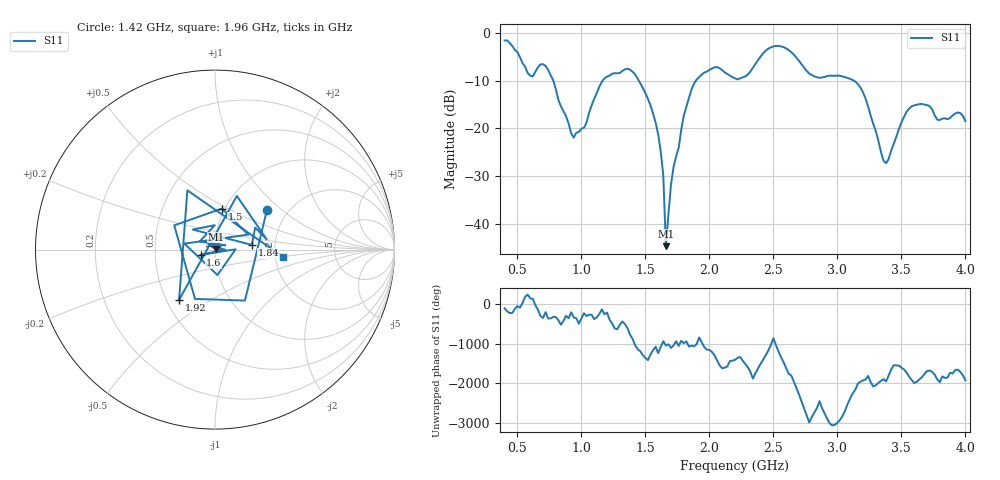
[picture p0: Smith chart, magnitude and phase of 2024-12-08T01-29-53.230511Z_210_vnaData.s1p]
!Created with skrf (http://scikit-rf.org).
# Hz S RI R 50.0
!freq ReS11 ImS11
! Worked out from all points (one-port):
!   181 points, 400 MHz to 4 GHz, reference 50 ohm
!   lowest |S11| = -44.7 dB at 1.66 GHz (marker M1), VSWR 1.01, Z = 50.5 + j0.307 ohm
!   |S11| at or under -10 dB: 780.3 MHz to 1.167 GHz (386.5 MHz wide, 39.7 % of centre); 1.448 GHz to 1.896 GHz (447.8 MHz wide, 26.8 % of centre); 3.126 GHz to end of sweep
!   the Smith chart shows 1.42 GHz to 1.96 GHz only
!   S11 on the Smith chart (normalised r, x): 1.42 GHz: 1.56, +0.81; 1.5 GHz: 0.97, +0.47; 1.6 GHz: 0.85, -0.05; 1.84 GHz: 1.51, +0.08; 1.92 GHz: 0.58, -0.37; 1.96 GHz: 2.22, -0.22
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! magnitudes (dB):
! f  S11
! 400 MHz  -1.6
! 600 MHz  -9.0
! 720 MHz  -6.9
! 860 MHz  -16.4
! 940 MHz  -22.0
! 1.02 GHz  -19.9
! 1.16 GHz  -10.2
! 1.3 GHz  -8.4
! 1.42 GHz  -8.7
! 1.5 GHz  -12.7
! 1.6 GHz  -21.3
! 1.64 GHz  -30.0
! 1.66 GHz  -44.7
! 1.7 GHz  -31.8
! 1.76 GHz  -24.1
! 1.84 GHz  -13.7
! 1.92 GHz  -9.3
! 1.96 GHz  -8.3
! 2.06 GHz  -7.2
! 2.2 GHz  -9.5
! 2.48 GHz  -3.0
! 2.66 GHz  -4.6
! 2.82 GHz  -9.1
! 3.1 GHz  -9.7
! 3.2 GHz  -12.5
! 3.38 GHz  -27.3
! 3.56 GHz  -15.9
! 4 GHz  -18.5
